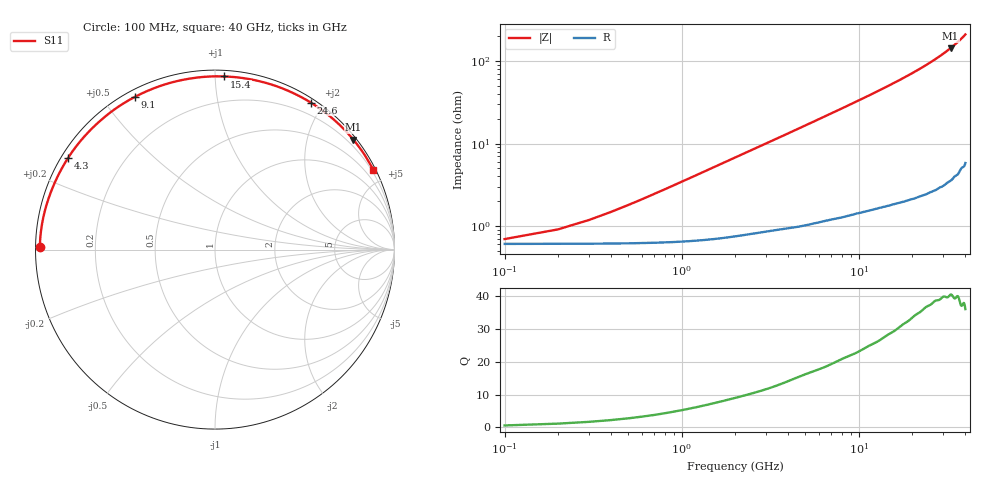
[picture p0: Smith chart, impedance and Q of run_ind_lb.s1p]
#  Hz  S  RI  R  50
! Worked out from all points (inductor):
!   400 points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, 100 MHz to 40 GHz, reference 50 ohm
!   read as one part to ground: L = 539 pH near 600 MHz
!   highest Q = 40.5 at 33 GHz (marker M1), where L = 691 pH
!   S11 on the Smith chart (normalised r, x): 100 MHz: 0.01, +0.01; 4.3 GHz: 0.02, +0.29; 9.1 GHz: 0.03, +0.61; 15.4 GHz: 0.04, +1.05; 24.6 GHz: 0.05, +1.85; 40 GHz: 0.12, +4.20
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1e8  -0.9759 0.0132
1e9  -0.9656 0.1314
2e9  -0.9364 0.2566
3.1e9  -0.8879 0.3836
4.3e9  -0.8195 0.5095
5.1e9  -0.7657 0.5851
6.1e9  -0.6916 0.6687
7.1e9  -0.6126 0.7407
8.1e9  -0.5299 0.8017
9.1e9  -0.4454 0.8513
1.01e10  -0.3611 0.8906
1.12e10  -0.2694 0.9233
1.24e10  -0.1721 0.9472
1.37e10  -0.0717 0.9615
1.51e10  0.0304 0.9654
1.54e10  0.0513 0.9648
1.66e10  0.1314 0.9588
1.78e10  0.2064 0.9472
2.01e10  0.3347 0.913
2.22e10  0.4358 0.8721
2.46e10  0.5346 0.8185
2.51e10  0.5531 0.8067
2.75e10  0.6332 0.7486
3.01e10  0.7055 0.6842
3.3e10  0.7713 0.6123
3.51e10  0.8105 0.561
3.7e10  0.8415 0.5152
4e10  0.8816 0.4452
